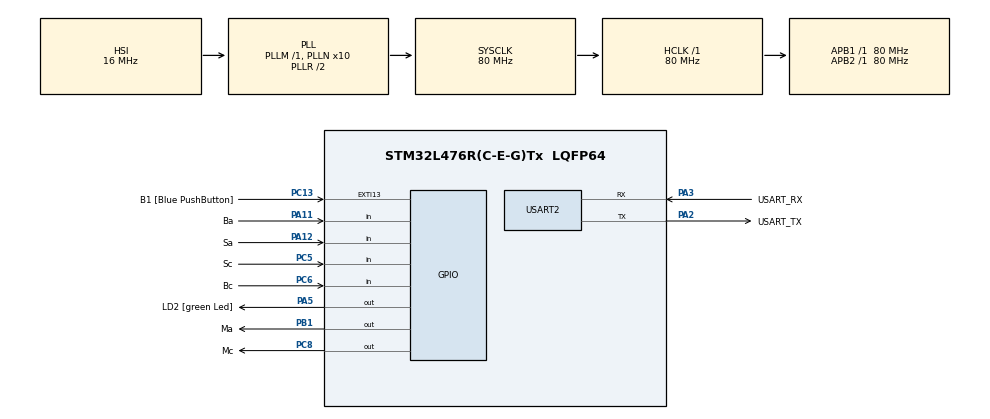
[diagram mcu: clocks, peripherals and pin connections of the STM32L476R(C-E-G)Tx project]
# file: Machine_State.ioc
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Mcu.Family=STM32L4
Mcu.Name=STM32L476R(C-E-G)Tx
Mcu.Package=LQFP64
NVIC.PriorityGroup=NVIC_PRIORITYGROUP_4
NVIC.TIM2_IRQn=true\:0\:0\:false\:false\:true\:true\:true\:true
PA11.GPIO_Label=Ba
PA11.GPIO_PuPd=GPIO_PULLDOWN
PA11.Signal=GPIO_Input
PA12.GPIO_Label=Sa
PA12.GPIO_PuPd=GPIO_PULLDOWN
PA12.Signal=GPIO_Input
PA13\ (JTMS-SWDIO).GPIO_Label=TMS
PA13\ (JTMS-SWDIO).Mode=Serial_Wire
PA13\ (JTMS-SWDIO).Signal=SYS_JTMS-SWDIO
PA14\ (JTCK-SWCLK).GPIO_Label=TCK
PA14\ (JTCK-SWCLK).Mode=Serial_Wire
PA14\ (JTCK-SWCLK).Signal=SYS_JTCK-SWCLK
PA2.GPIO_Label=USART_TX
PA2.GPIO_Mode=GPIO_MODE_AF_PP
PA2.GPIO_PuPd=GPIO_NOPULL
PA2.GPIO_Speed=GPIO_SPEED_FREQ_VERY_HIGH
PA2.Mode=Asynchronous
PA2.Signal=USART2_TX
PA3.GPIO_Label=USART_RX
PA3.GPIO_Mode=GPIO_MODE_AF_PP
PA3.GPIO_PuPd=GPIO_NOPULL
PA3.GPIO_Speed=GPIO_SPEED_FREQ_VERY_HIGH
PA3.Mode=Asynchronous
PA3.Signal=USART2_RX
PA5.GPIO_Label=LD2 [green Led]
PA5.GPIO_ModeDefaultOutputPP=GPIO_MODE_OUTPUT_PP
PA5.GPIO_PuPd=GPIO_NOPULL
PA5.GPIO_Speed=GPIO_SPEED_FREQ_LOW
PA5.Signal=GPIO_Output
PB1.GPIO_Label=Ma
PB1.Signal=GPIO_Output
PB3\ (JTDO-TRACESWO).GPIO_Label=SWO
PB3\ (JTDO-TRACESWO).Signal=SYS_JTDO-SWO
PC13.GPIO_Label=B1 [Blue PushButton]
PC13.GPIO_ModeDefaultEXTI=GPIO_MODE_IT_FALLING
PC13.GPIO_PuPd=GPIO_NOPULL
PC13.Signal=GPXTI13
PC14-OSC32_IN\ (PC14).Mode=LSE-External-Oscillator
PC14-OSC32_IN\ (PC14).Signal=RCC_OSC32_IN
PC15-OSC32_OUT\ (PC15).Mode=LSE-External-Oscillator
PC15-OSC32_OUT\ (PC15).Signal=RCC_OSC32_OUT
PC5.GPIO_Label=Sc
PC5.GPIO_PuPd=GPIO_PULLDOWN
PC5.Signal=GPIO_Input
PC6.GPIO_Label=Bc
PC6.GPIO_PuPd=GPIO_PULLDOWN
PC6.Signal=GPIO_Input
PC8.GPIO_Label=Mc
PC8.Signal=GPIO_Output
PH0-OSC_IN\ (PH0).Signal=RCC_OSC_IN
PH1-OSC_OUT\ (PH1).Signal=RCC_OSC_OUT
ProjectManager.HeapSize=0x200
ProjectManager.StackSize=0x400
ProjectManager.TargetToolchain=STM32CubeIDE
RCC.ADCFreq_Value=64000000
RCC.AHBFreq_Value=80000000
RCC.APB1Freq_Value=80000000
RCC.APB1TimFreq_Value=80000000
RCC.APB2Freq_Value=80000000
RCC.APB2TimFreq_Value=80000000
RCC.CortexFreq_Value=80000000
RCC.HCLKFreq_Value=80000000
RCC.HSE_VALUE=8000000
RCC.HSI_VALUE=16000000
RCC.MSI_VALUE=4000000
RCC.PLLN=10
RCC.PLLSourceVirtual=RCC_PLLSOURCE_HSI
RCC.PREFETCH_ENABLE=1
RCC.SYSCLKFreq_VALUE=80000000
RCC.SYSCLKSource=RCC_SYSCLKSOURCE_PLLCLK
RCC.USBFreq_Value=64000000
RCC.VCOOutputFreq_Value=160000000
TIM2.Period=150000
TIM2.Prescaler=80
USART2.VirtualMode-Asynchronous=VM_ASYNC
VP_TIM2_VS_ClockSourceINT.Mode=Internal
board=NUCLEO-L476RG

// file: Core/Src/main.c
/* USER CODE BEGIN Header */
/**
  ******************************************************************************
  * @file           : main.c
  * @brief          : Main program body
  ******************************************************************************
  * @attention
  *
  * Copyright (c) 2024 STMicroelectronics.
  * All rights reserved.
  *
  * This software is licensed under terms that can be found in the LICENSE file
  * in the root directory of this software component.
  * If no LICENSE file comes with this software, it is provided AS-IS.
  *
  ******************************************************************************
  */
/* USER CODE END Header */
#include "main.h"

/* USER CODE BEGIN Includes */
#include <stdio.h>
#include <stdlib.h>
/* USER CODE END Includes */

/* USER CODE BEGIN PD */
#define ESTADO_ERROR        0
#define ESTADO_ABIERTO      1
#define ESTADO_CERRADO      2
#define ESTADO_ABRIENDO     3
#define ESTADO_CERRANDO     4
#define ESTADO_INTERMEDIO   5
#define ESTADO_INIT         6
#define FALSE      		    0
#define TRUE                1
#define inTrue              0
#define inFalse             1
#define TIME_Ca             60
/* USER CODE END PD */

TIM_HandleTypeDef htim2;

UART_HandleTypeDef huart2;

/* USER CODE BEGIN PV */
volatile int ESTADO_ANTERIOR = ESTADO_INIT;
volatile int ESTADO_ACTUAL = ESTADO_INIT;
volatile int ESTADO_SIGUIENTE = ESTADO_INIT;
volatile int CntTimeCa = 0;//contador de un segundo
volatile struct INOUT
{
    unsigned int Sc:1;
    unsigned int Sa:1;
    unsigned int Mc:1;
    unsigned int Ma:1;
    unsigned int Bc:1;
    unsigned int Ba:1;
    unsigned int Led:1;
} inout;
/* USER CODE END PV */

void SystemClock_Config(void);
static void MX_GPIO_Init(void);
static void MX_USART2_UART_Init(void);
static void MX_TIM2_Init(void);
/* USER CODE BEGIN PFP */
int Func_ESTADO_ERROR(void);
int Func_ESTADO_ABIERTO(void);
int Func_ESTADO_CERRADO(void);
int Func_ESTADO_ABRIENDO(void);
int Func_ESTADO_CERRANDO(void);
int Func_ESTADO_INTERMEDIO(void);
int Func_ESTADO_INIT(void);
/* USER CODE END PFP */

int main(void)
{

  /* MCU Configuration--------------------------------------------------------*/

  /* Reset of all peripherals, Initializes the Flash interface and the Systick. */
  HAL_Init();

  /* Configure the system clock */
  SystemClock_Config();

  /* Initialize all configured peripherals */
  MX_GPIO_Init();
  MX_USART2_UART_Init();
  MX_TIM2_Init();
  /* USER CODE BEGIN 2 */
  HAL_TIM_Base_Start_IT(&htim2);
  /* USER CODE END 2 */

  /* Infinite loop */
  /* USER CODE BEGIN WHILE */
  while (1)
  {

	  if(ESTADO_SIGUIENTE == ESTADO_INIT)
	          {
	              ESTADO_SIGUIENTE = Func_ESTADO_INIT();
	          }

	          if(ESTADO_SIGUIENTE == ESTADO_ABIERTO)
	          {
	              ESTADO_SIGUIENTE = Func_ESTADO_ABIERTO();
	          }

	          if(ESTADO_SIGUIENTE == ESTADO_CERRADO)
	          {
	              ESTADO_SIGUIENTE = Func_ESTADO_CERRADO();
	          }

	          if(ESTADO_SIGUIENTE == ESTADO_ABRIENDO)
	          {
	              ESTADO_SIGUIENTE = Func_ESTADO_ABRIENDO();
	          }

	          if(ESTADO_SIGUIENTE == ESTADO_CERRANDO)
	          {
	              ESTADO_SIGUIENTE = Func_ESTADO_CERRANDO();
	          }

	          if(ESTADO_SIGUIENTE == ESTADO_INTERMEDIO)
	          {
	              ESTADO_SIGUIENTE = Func_ESTADO_INTERMEDIO();
	          }

	          if(ESTADO_SIGUIENTE == ESTADO_ERROR)
	          {
	              ESTADO_SIGUIENTE = Func_ESTADO_ERROR();
	          }
    /* USER CODE END WHILE */

  }
}

void SystemClock_Config(void)
{
  RCC_OscInitTypeDef RCC_OscInitStruct = {0};
  RCC_ClkInitTypeDef RCC_ClkInitStruct = {0};

  /** Configure the main internal regulator output voltage
  */
  if (HAL_PWREx_ControlVoltageScaling(PWR_REGULATOR_VOLTAGE_SCALE1) != HAL_OK)
  {
    Error_Handler();
  }

  /** Initializes the RCC Oscillators according to the specified parameters
  * in the RCC_OscInitTypeDef structure.
  */
  RCC_OscInitStruct.OscillatorType = RCC_OSCILLATORTYPE_HSI;
  RCC_OscInitStruct.HSIState = RCC_HSI_ON;
  RCC_OscInitStruct.HSICalibrationValue = RCC_HSICALIBRATION_DEFAULT;
  RCC_OscInitStruct.PLL.PLLState = RCC_PLL_ON;
  RCC_OscInitStruct.PLL.PLLSource = RCC_PLLSOURCE_HSI;
  RCC_OscInitStruct.PLL.PLLM = 1;
  RCC_OscInitStruct.PLL.PLLN = 10;
  RCC_OscInitStruct.PLL.PLLP = RCC_PLLP_DIV7;
  RCC_OscInitStruct.PLL.PLLQ = RCC_PLLQ_DIV2;
  RCC_OscInitStruct.PLL.PLLR = RCC_PLLR_DIV2;
  if (HAL_RCC_OscConfig(&RCC_OscInitStruct) != HAL_OK)
  {
    Error_Handler();
  }

  /** Initializes the CPU, AHB and APB buses clocks
  */
  RCC_ClkInitStruct.ClockType = RCC_CLOCKTYPE_HCLK|RCC_CLOCKTYPE_SYSCLK
                              |RCC_CLOCKTYPE_PCLK1|RCC_CLOCKTYPE_PCLK2;
  RCC_ClkInitStruct.SYSCLKSource = RCC_SYSCLKSOURCE_PLLCLK;
  RCC_ClkInitStruct.AHBCLKDivider = RCC_SYSCLK_DIV1;
  RCC_ClkInitStruct.APB1CLKDivider = RCC_HCLK_DIV1;
  RCC_ClkInitStruct.APB2CLKDivider = RCC_HCLK_DIV1;

  if (HAL_RCC_ClockConfig(&RCC_ClkInitStruct, FLASH_LATENCY_4) != HAL_OK)
  {
    Error_Handler();
  }
}

static void MX_TIM2_Init(void)
{

  TIM_ClockConfigTypeDef sClockSourceConfig = {0};
  TIM_MasterConfigTypeDef sMasterConfig = {0};

  htim2.Instance = TIM2;
  htim2.Init.Prescaler = 80;
  htim2.Init.CounterMode = TIM_COUNTERMODE_UP;
  htim2.Init.Period = 90000;
  htim2.Init.ClockDivision = TIM_CLOCKDIVISION_DIV1;
  htim2.Init.AutoReloadPreload = TIM_AUTORELOAD_PRELOAD_DISABLE;
  if (HAL_TIM_Base_Init(&htim2) != HAL_OK)
  {
    Error_Handler();
  }
  sClockSourceConfig.ClockSource = TIM_CLOCKSOURCE_INTERNAL;
  if (HAL_TIM_ConfigClockSource(&htim2, &sClockSourceConfig) != HAL_OK)
  {
    Error_Handler();
  }
  sMasterConfig.MasterOutputTrigger = TIM_TRGO_RESET;
  sMasterConfig.MasterSlaveMode = TIM_MASTERSLAVEMODE_DISABLE;
  if (HAL_TIMEx_MasterConfigSynchronization(&htim2, &sMasterConfig) != HAL_OK)
  {
    Error_Handler();
  }

}

static void MX_USART2_UART_Init(void)
{

  huart2.Instance = USART2;
  huart2.Init.BaudRate = 115200;
  huart2.Init.WordLength = UART_WORDLENGTH_8B;
  huart2.Init.StopBits = UART_STOPBITS_1;
  huart2.Init.Parity = UART_PARITY_NONE;
  huart2.Init.Mode = UART_MODE_TX_RX;
  huart2.Init.HwFlowCtl = UART_HWCONTROL_NONE;
  huart2.Init.OverSampling = UART_OVERSAMPLING_16;
  huart2.Init.OneBitSampling = UART_ONE_BIT_SAMPLE_DISABLE;
  huart2.AdvancedInit.AdvFeatureInit = UART_ADVFEATURE_NO_INIT;
  if (HAL_UART_Init(&huart2) != HAL_OK)
  {
    Error_Handler();
  }

}

static void MX_GPIO_Init(void)
{
  GPIO_InitTypeDef GPIO_InitStruct = {0};

  /* GPIO Ports Clock Enable */
  __HAL_RCC_GPIOC_CLK_ENABLE();
  __HAL_RCC_GPIOH_CLK_ENABLE();
  __HAL_RCC_GPIOA_CLK_ENABLE();
  __HAL_RCC_GPIOB_CLK_ENABLE();

  /*Configure GPIO pin Output Level */
  HAL_GPIO_WritePin(LD2_GPIO_Port, LD2_Pin, GPIO_PIN_RESET);

  /*Configure GPIO pin Output Level */
  HAL_GPIO_WritePin(Ma_GPIO_Port, Ma_Pin, GPIO_PIN_RESET);

  /*Configure GPIO pin Output Level */
  HAL_GPIO_WritePin(Mc_GPIO_Port, Mc_Pin, GPIO_PIN_RESET);

  /*Configure GPIO pin : B1_Pin */
  GPIO_InitStruct.Pin = B1_Pin;
  GPIO_InitStruct.Mode = GPIO_MODE_IT_FALLING;
  GPIO_InitStruct.Pull = GPIO_NOPULL;
  HAL_GPIO_Init(B1_GPIO_Port, &GPIO_InitStruct);

  /*Configure GPIO pin : LD2_Pin */
  GPIO_InitStruct.Pin = LD2_Pin;
  GPIO_InitStruct.Mode = GPIO_MODE_OUTPUT_PP;
  GPIO_InitStruct.Pull = GPIO_NOPULL;
  GPIO_InitStruct.Speed = GPIO_SPEED_FREQ_LOW;
  HAL_GPIO_Init(LD2_GPIO_Port, &GPIO_InitStruct);

  /*Configure GPIO pins : Sc_Pin Bc_Pin */
  GPIO_InitStruct.Pin = Sc_Pin|Bc_Pin;
  GPIO_InitStruct.Mode = GPIO_MODE_INPUT;
  GPIO_InitStruct.Pull = GPIO_PULLDOWN;
  HAL_GPIO_Init(GPIOC, &GPIO_InitStruct);

  /*Configure GPIO pin : Ma_Pin */
  GPIO_InitStruct.Pin = Ma_Pin;
  GPIO_InitStruct.Mode = GPIO_MODE_OUTPUT_PP;
  GPIO_InitStruct.Pull = GPIO_NOPULL;
  GPIO_InitStruct.Speed = GPIO_SPEED_FREQ_LOW;
  HAL_GPIO_Init(Ma_GPIO_Port, &GPIO_InitStruct);

  /*Configure GPIO pin : Mc_Pin */
  GPIO_InitStruct.Pin = Mc_Pin;
  GPIO_InitStruct.Mode = GPIO_MODE_OUTPUT_PP;
  GPIO_InitStruct.Pull = GPIO_NOPULL;
  GPIO_InitStruct.Speed = GPIO_SPEED_FREQ_LOW;
  HAL_GPIO_Init(Mc_GPIO_Port, &GPIO_InitStruct);

  /*Configure GPIO pins : Ba_Pin Sa_Pin */
  GPIO_InitStruct.Pin = Ba_Pin|Sa_Pin;
  GPIO_InitStruct.Mode = GPIO_MODE_INPUT;
  GPIO_InitStruct.Pull = GPIO_PULLDOWN;
  HAL_GPIO_Init(GPIOA, &GPIO_InitStruct);

}

/* USER CODE BEGIN 4 */
int Func_ESTADO_ERROR(void)
{
	for(;;)
	{
        inout.Led = TRUE;
	}
}

int Func_ESTADO_ABIERTO(void)
{
    ESTADO_ANTERIOR = ESTADO_ACTUAL;
    ESTADO_ACTUAL = ESTADO_ABIERTO;

    inout.Ma = FALSE;
    inout.Mc = FALSE;
    inout.Led = FALSE;
    CntTimeCa = 0;//reset de contador

    for(;;)
    {
        if(CntTimeCa > TIME_Ca)
        {
            return ESTADO_CERRANDO;
        }

        if(inout.Bc == TRUE)
        {
            return ESTADO_CERRANDO;
        }
    }
}

int Func_ESTADO_CERRADO(void)
{
    ESTADO_ANTERIOR = ESTADO_ACTUAL;
    ESTADO_ACTUAL = ESTADO_CERRADO;
    inout.Mc = FALSE;
    inout.Ma = FALSE;

    for(;;)
    {
        if(inout.Ba == TRUE)
        {
            return ESTADO_ABRIENDO;
        }
    }

}

int Func_ESTADO_ABRIENDO(void)
{
    ESTADO_ANTERIOR = ESTADO_ACTUAL;
    ESTADO_ACTUAL = ESTADO_ABRIENDO;
    inout.Mc = FALSE;
    inout.Ma = TRUE;

    for(;;)
    {
        if(inout.Sa == TRUE)
        {
            return ESTADO_ABIERTO;
        }
    }
}

int Func_ESTADO_CERRANDO(void)
{
    ESTADO_ANTERIOR = ESTADO_ACTUAL;
    ESTADO_ACTUAL = ESTADO_CERRANDO;
    inout.Mc = TRUE;
    inout.Ma = FALSE;

    for(;;)
    {
        if(inout.Sc == TRUE)
        {
            return ESTADO_CERRADO;
        }
    }
}

int Func_ESTADO_INTERMEDIO(void)
{
    ESTADO_ANTERIOR = ESTADO_ACTUAL;
    ESTADO_ACTUAL = ESTADO_INTERMEDIO;
    inout.Mc = FALSE;
    inout.Ma = FALSE;

    for(;;)
    {
        if(inout.Bc == TRUE)
        {
            return ESTADO_CERRANDO;
        }
        if(inout.Ba == TRUE)
        {
            return ESTADO_ABRIENDO;
        }
    }
}

int Func_ESTADO_INIT(void)
{
    ESTADO_ANTERIOR = ESTADO_ACTUAL;
    ESTADO_ACTUAL = ESTADO_INIT;

    inout.Ma = FALSE;
    inout.Mc = FALSE;

    for(;;)
    {
    if((inout.Sa == TRUE) && (inout.Sc == TRUE))
    {
        return ESTADO_ERROR;
    }

    if(inout.Sa == TRUE)
    {
        return ESTADO_ABIERTO;
    }

    if(inout.Sc == TRUE)
    {
        return ESTADO_CERRADO;
    }

    if((inout.Sa == FALSE) && (inout.Sc == FALSE))
    {
        return ESTADO_INTERMEDIO;
    }
    }
}

void HAL_TIM_PeriodElapsedCallback(TIM_HandleTypeDef *htim)
{
	CntTimeCa++;
		if(inout.Led == TRUE)
		{
			HAL_GPIO_WritePin(LD2_GPIO_Port,LD2_Pin, 1);
		}
		if(HAL_GPIO_ReadPin(Ba_GPIO_Port, Ba_Pin) == TRUE)
			{
				inout.Ba = TRUE;
			}else
			{
				inout.Ba = FALSE;
			}
		if(HAL_GPIO_ReadPin(Bc_GPIO_Port, Bc_Pin) == TRUE)
				{
					inout.Bc = TRUE;
				}else
				{
					inout.Bc = FALSE;
				}
		if(HAL_GPIO_ReadPin(Sa_GPIO_Port, Sa_Pin) == TRUE)
				{
					inout.Sa = TRUE;
				}else
				{
					inout.Sa = FALSE;
				}
		if(HAL_GPIO_ReadPin(Sc_GPIO_Port, Sc_Pin) == TRUE)
				{
					inout.Sc = TRUE;
				}else
				{
					inout.Sc = FALSE;
				}
		if(inout.Ma == TRUE)
				{
					HAL_GPIO_WritePin(Ma_GPIO_Port, Ma_Pin, 1);
				}else
				{
					HAL_GPIO_WritePin(Ma_GPIO_Port, Ma_Pin, 0);
				}
		if(inout.Mc == TRUE)
				{
					HAL_GPIO_WritePin(Mc_GPIO_Port, Mc_Pin, 1);
				}else
				{
					HAL_GPIO_WritePin(Mc_GPIO_Port, Mc_Pin, 0);
				}
}
/* USER CODE END 4 */

void Error_Handler(void)
{
  __disable_irq();
  while (1)
  {
  }
}
